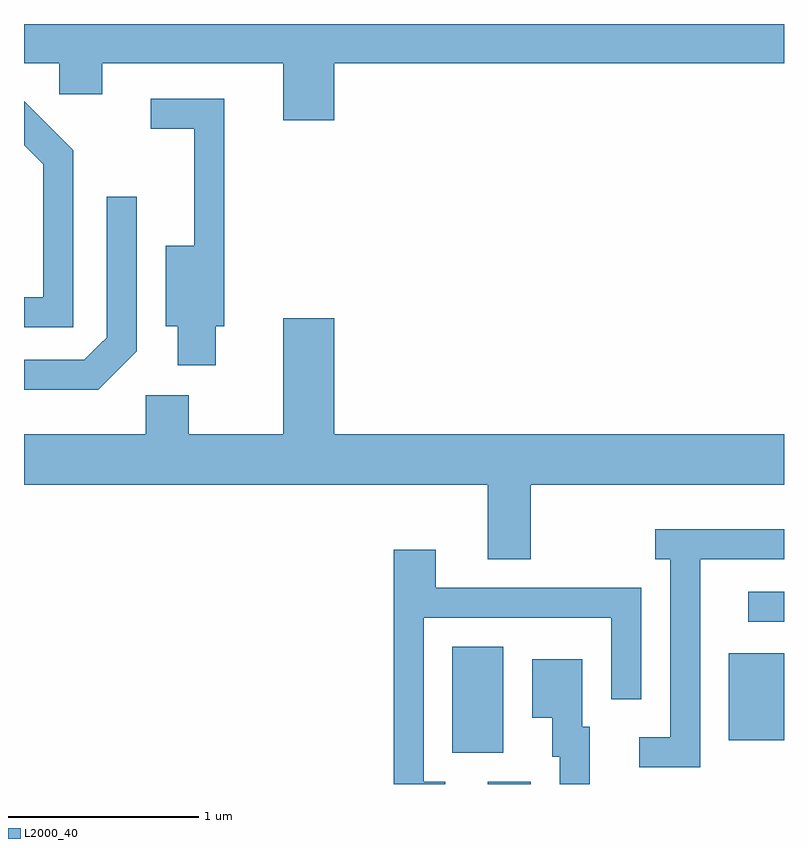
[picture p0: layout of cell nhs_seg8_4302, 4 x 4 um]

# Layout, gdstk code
import gdstk
lib = gdstk.Library(unit=1e-6, precision=1e-09)
def R(c, l, rs):  # rectangles x0, y0, x1, y1
    for r in rs: c.add(gdstk.rectangle(r[:2], r[2:], *l))
def P(c, l, *ps):  # polygons
    for p in ps: c.add(gdstk.Polygon(p, *l))
L2000_40 = (2000, 40)

nhs_seg8_4302 = lib.new_cell('nhs_seg8_4302')
R(nhs_seg8_4302, L2000_40, [(316.051,1890.342,316.279,1890.354), (315.866,1890.506,316.134,1891.064), (317.321,1890.571,317.611,1891.029), (317.423,1891.196,317.611,1891.354)])
P(nhs_seg8_4302, L2000_40, [(315.244,1894.136),(317.611,1894.136),(317.611,1894.342),(313.611,1894.342),(313.611,1894.136),(313.796,1894.136),(313.796,1893.971),(314.024,1893.971),(314.024,1894.136),(314.976,1894.136),(314.976,1893.836),(315.244,1893.836)],
  [(314.619,1892.751),(314.664,1892.751),(314.664,1893.949),(314.278,1893.949),(314.278,1893.791),(314.506,1893.791),(314.506,1893.174),(314.356,1893.174),(314.356,1892.751),(314.421,1892.751),(314.421,1892.546),(314.619,1892.546)],
  [(313.869,1893.677),(313.611,1893.935),(313.611,1893.704),(313.711,1893.604),(313.711,1892.904),(313.611,1892.904),(313.611,1892.746),(313.869,1892.746)],
  [(314.013,1892.427),(314.204,1892.619),(314.204,1893.433),(314.046,1893.433),(314.046,1892.692),(314.013,1892.658),(313.929,1892.574),(313.611,1892.574),(313.611,1892.416),(314.002,1892.416)],
  [(316.279,1891.916),(317.611,1891.916),(317.611,1892.184),(315.244,1892.184),(315.244,1892.794),(314.976,1892.794),(314.976,1892.184),(314.479,1892.184),(314.479,1892.389),(314.251,1892.389),(314.251,1892.184),(313.611,1892.184),(313.611,1891.916),(316.051,1891.916),(316.051,1891.526),(316.279,1891.526)],
  [(317.169,1891.526),(317.611,1891.526),(317.611,1891.684),(316.933,1891.684),(316.933,1891.526),(317.011,1891.526),(317.011,1890.589),(316.848,1890.589),(316.848,1890.431),(317.169,1890.431)],
  [(315.828,1890.354),(315.714,1890.354),(315.714,1891.216),(316.701,1891.216),(316.701,1890.788),(316.859,1890.788),(316.859,1891.374),(315.779,1891.374),(315.779,1891.574),(315.556,1891.574),(315.556,1890.342),(315.828,1890.342)],
  [(316.589,1890.644),(316.549,1890.644),(316.549,1890.999),(316.286,1890.999),(316.286,1890.691),(316.391,1890.691),(316.391,1890.486),(316.431,1890.486),(316.431,1890.342),(316.589,1890.342)])

lib.write_gds('nhs_seg8_4302.gds')
